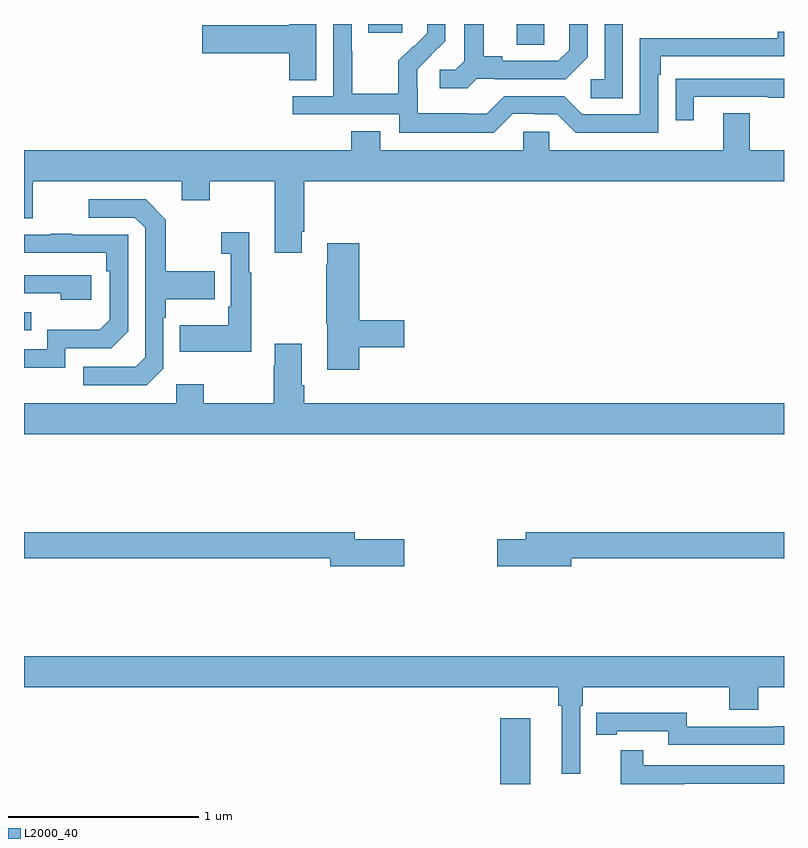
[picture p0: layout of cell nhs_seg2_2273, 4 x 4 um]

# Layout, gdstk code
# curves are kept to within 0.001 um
import gdstk
lib = gdstk.Library(unit=1e-6, precision=1e-09)
def R(c, l, rs):  # rectangles x0, y0, x1, y1
    for r in rs: c.add(gdstk.rectangle(r[:2], r[2:], *l))
def P(c, l, *ps):  # polygons
    for p in ps: c.add(gdstk.Polygon(p, *l))
L2000_40 = (2000, 40)

nhs_seg2_2273 = lib.new_cell('nhs_seg2_2273')
R(nhs_seg2_2273, L2000_40, [(231.506,641.8,231.664,642.145), (229,644.187,229.037,644.283), (231.593,645.691,231.738,645.8), (230.813,645.753,230.992,645.8)])
P(nhs_seg2_2273, L2000_40, [(231.384,645.513),(231.478,645.513),(231.478,645.51),(231.85,645.51),(231.966,645.626),(231.966,645.8),(231.869,645.8),(231.869,645.663),(231.812,645.606),(231.517,645.606),(231.517,645.629),(231.421,645.629),(231.421,645.8),(231.317,645.8),(231.317,645.605),(231.27,645.558),(231.189,645.558),(231.189,645.461),(231.332,645.461)],
  [(232.152,645.8),(232.056,645.8),(232.056,645.51),(231.984,645.51),(231.984,645.409),(232.152,645.409)],
  [(230.539,645.8),(230.396,645.8),(230.396,645.794),(229.938,645.794),(229.938,645.647),(230.396,645.647),(230.396,645.505),(230.539,645.505)],
  [(231.573,645.327),(231.689,645.327),(231.689,645.324),(231.807,645.324),(231.903,645.228),(232.338,645.228),(232.338,645.533),(232.351,645.533),(232.351,645.63),(233,645.63),(233,645.76),(232.967,645.76),(232.967,645.726),(232.242,645.726),(232.242,645.324),(231.939,645.324),(231.843,645.42),(231.528,645.42),(231.435,645.327),(231.335,645.327),(231.335,645.331),(231.072,645.331),(231.072,645.465),(231.07,645.465),(231.07,645.562),(231.216,645.71),(231.216,645.8),(231.122,645.8),(231.122,645.752),(231.051,645.681),(231.048,645.684),(230.971,645.607),(230.971,645.433),(230.727,645.433),(230.727,645.656),(230.724,645.656),(230.724,645.8),(230.628,645.8),(230.628,645.42),(230.415,645.42),(230.415,645.324),(230.976,645.324),(230.976,645.227),(231.473,645.227)],
  [(232.525,645.417),(232.915,645.417),(232.915,645.412),(233,645.412),(233,645.513),(232.531,645.513),(232.531,645.512),(232.429,645.512),(232.429,645.294),(232.525,645.294)],
  [(230.461,644.707),(230.474,644.707),(230.474,644.972),(233,644.972),(233,645.136),(232.819,645.136),(232.819,645.331),(232.679,645.331),(232.679,645.136),(231.765,645.136),(231.765,645.234),(231.627,645.234),(231.627,645.136),(230.875,645.136),(230.875,645.235),(230.723,645.235),(230.723,645.136),(229,645.136),(229,644.778),(229.045,644.778),(229.045,644.972),(229.829,644.972),(229.829,644.873),(229.977,644.873),(229.977,644.972),(230.321,644.972),(230.321,644.595),(230.461,644.595)],
  [(229.734,643.986),(229.734,644.255),(229.747,644.255),(229.747,644.351),(230.003,644.351),(230.003,644.499),(229.747,644.499),(229.747,644.771),(229.641,644.877),(229.341,644.877),(229.341,644.781),(229.584,644.781),(229.638,644.727),(229.638,644.046),(229.587,643.995),(229.311,643.995),(229.311,643.899),(229.647,643.899)],
  [(230.197,644.491),(230.185,644.491),(230.185,644.704),(230.037,644.704),(230.037,644.591),(230.088,644.591),(230.088,644.311),(230.076,644.311),(230.076,644.215),(229.819,644.215),(229.819,644.075),(230.197,644.075)],
  [(229.218,644.094),(229.458,644.094),(229.548,644.184),(229.548,644.691),(229.253,644.691),(229.253,644.696),(229.141,644.696),(229.141,644.691),(229,644.691),(229,644.595),(229.432,644.595),(229.432,644.498),(229.452,644.498),(229.452,644.244),(229.399,644.191),(229.122,644.191),(229.122,644.088),(229,644.088),(229,643.992),(229.218,643.992)],
  [(230.765,644.098),(231.001,644.098),(231.001,644.24),(230.765,644.24),(230.765,644.647),(230.597,644.647),(230.597,644.534),(230.59,644.534),(230.59,644.223),(230.597,644.223),(230.597,643.98),(230.765,643.98)],
  [(229.354,644.478),(229,644.478),(229,644.382),(229.193,644.382),(229.193,644.348),(229.354,644.348)],
  [(233,643.804),(230.474,643.804),(230.474,643.9),(230.461,643.9),(230.461,644.116),(230.321,644.116),(230.321,644.003),(230.314,644.003),(230.314,643.804),(229.947,643.804),(229.947,643.903),(229.8,643.903),(229.8,643.804),(229,643.804),(229,643.64),(233,643.64)],
  [(231.001,643.088),(230.74,643.088),(230.74,643.124),(229,643.124),(229,642.988),(230.612,642.988),(230.612,642.946),(231.001,642.946)],
  [(231.88,642.988),(233,642.988),(233,643.124),(231.641,643.124),(231.641,643.088),(231.492,643.088),(231.492,642.946),(231.88,642.946)],
  [(231.927,642.212),(231.941,642.212),(231.941,642.308),(232.712,642.308),(232.712,642.191),(232.865,642.191),(232.865,642.308),(233,642.308),(233,642.472),(229,642.472),(229,642.308),(231.811,642.308),(231.811,642.212),(231.83,642.212),(231.83,641.853),(231.927,641.853)],
  [(233,642.104),(232.948,642.104),(232.948,642.102),(232.488,642.102),(232.488,642.175),(232.12,642.175),(232.12,642.174),(232.012,642.174),(232.012,642.058),(232.12,642.058),(232.12,642.078),(232.392,642.078),(232.392,642.006),(233,642.006)],
  [(232.475,641.802),(233,641.802),(233,641.898),(232.259,641.898),(232.259,641.977),(232.142,641.977),(232.142,641.8),(232.475,641.8)])

lib.write_gds('nhs_seg2_2273.gds')
